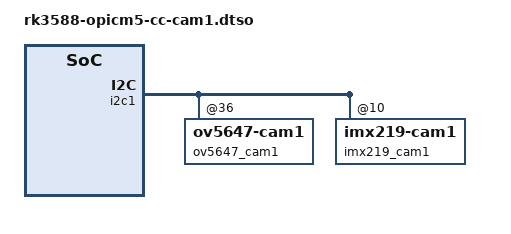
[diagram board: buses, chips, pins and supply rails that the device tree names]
// SPDX-License-Identifier: (GPL-2.0+ OR MIT)
/*
 * Enable CSI camera path 1 on Orange Pi CM5-CC.
 *
 * Enables CSI D-PHY0 and I2C1 sensor (OV5647/IMX219).
 *
 * Note: Full ISP pipeline (rkcif → rkisp1) requires driver support
 * that is not yet present in mainline 6.18 for RK3588. This overlay
 * enables the physical layer and sensor for I2C probe validation.
 * When the vendor ISP drivers are backported, add the following
 * targets to this overlay:
 *   &mipi2_csi2, &rkcif_mipi_lvds2, &rkisp0_vir1, &rkcif, &rkisp0
 */

/dts-v1/;
/plugin/;

/ {
	fragment@0 {
		target = <&i2c1>;
		__overlay__ {
			status = "okay";

			ov5647_cam1: ov5647-cam1@36 {
				status = "okay";
			};

			imx219_cam1: imx219-cam1@10 {
				status = "okay";
			};
		};
	};
};
